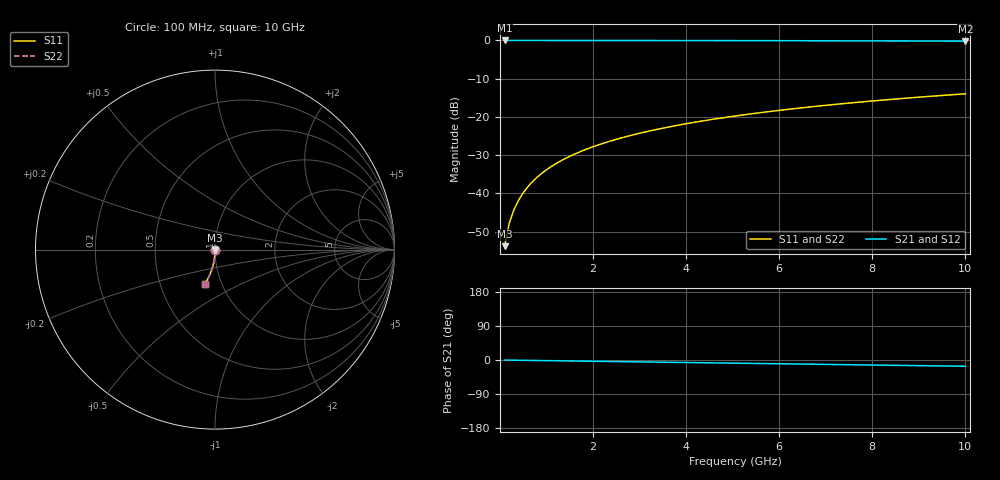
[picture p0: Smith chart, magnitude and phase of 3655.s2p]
# Hz S RI R 50.00
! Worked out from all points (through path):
!   100 points, 100 MHz to 10 GHz, reference 50 ohm
!   highest |S21| = 0.00 dB at 100 MHz (marker M1); lowest = -0.2 dB at 10 GHz (marker M2)
!   group delay of S21, straight-line fit = 4.59 ps
!   lowest |S11| = -53.8 dB at 100 MHz (marker M3), VSWR 1.00, Z = 50 - j0.204 ohm
!   |S11| at or under -10 dB: start of sweep to end of sweep
!   |S22| runs from -53.8 to -14.0 dB; largest |S21 - S12| = 0
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1e8  0.000122 -0.00204  0.9999 -0.00289  0.9999 -0.00289  0.000122 -0.00204
2e8  0.000103 -0.00407  0.9998 -0.00577  0.9998 -0.00577  0.000103 -0.00407
3e8  7.16e-05 -0.00611  0.9998 -0.00866  0.9998 -0.00866  7.16e-05 -0.00611
4e8  2.86e-05 -0.00814  0.9998 -0.0115  0.9998 -0.0115  2.86e-05 -0.00814
5e8  -2.62e-05 -0.0102  0.9997 -0.0144  0.9997 -0.0144  -2.62e-05 -0.0102
6e8  -9.28e-05 -0.0122  0.9996 -0.0173  0.9996 -0.0173  -9.28e-05 -0.0122
7e8  -0.000171 -0.0142  0.9995 -0.0202  0.9995 -0.0202  -0.000171 -0.0142
8e8  -0.000261 -0.0163  0.9994 -0.0231  0.9994 -0.0231  -0.000261 -0.0163
9e8  -0.000363 -0.0183  0.9993 -0.026  0.9993 -0.026  -0.000363 -0.0183
1.1e9  -0.000603 -0.0224  0.9991 -0.0317  0.9991 -0.0317  -0.000603 -0.0224
1.4e9  -0.00105 -0.0285  0.9986 -0.0404  0.9986 -0.0404  -0.00105 -0.0285
1.8e9  -0.00181 -0.0366  0.9978 -0.0519  0.9978 -0.0519  -0.00181 -0.0366
2.1e9  -0.00251 -0.0427  0.9971 -0.0606  0.9971 -0.0606  -0.00251 -0.0427
2.5e9  -0.0036 -0.0508  0.9959 -0.0721  0.9959 -0.0721  -0.0036 -0.0508
2.9e9  -0.00487 -0.0588  0.9945 -0.0836  0.9945 -0.0836  -0.00487 -0.0588
3.4e9  -0.00673 -0.0689  0.9926 -0.0979  0.9926 -0.0979  -0.00673 -0.0689
4.2e9  -0.0103 -0.0848  0.9888 -0.1207  0.9888 -0.1207  -0.0103 -0.0848
5.1e9  -0.0152 -0.1025  0.9836 -0.1461  0.9836 -0.1461  -0.0152 -0.1025
5.9e9  -0.0203 -0.118  0.9781 -0.1685  0.9781 -0.1685  -0.0203 -0.118
6.7e9  -0.0261 -0.1332  0.9719 -0.1907  0.9719 -0.1907  -0.0261 -0.1332
8.4e9  -0.0407 -0.1644  0.9563 -0.2367  0.9563 -0.2367  -0.0407 -0.1644
1e10  -0.0571 -0.1921  0.9389 -0.2784  0.9389 -0.2784  -0.0571 -0.1921
